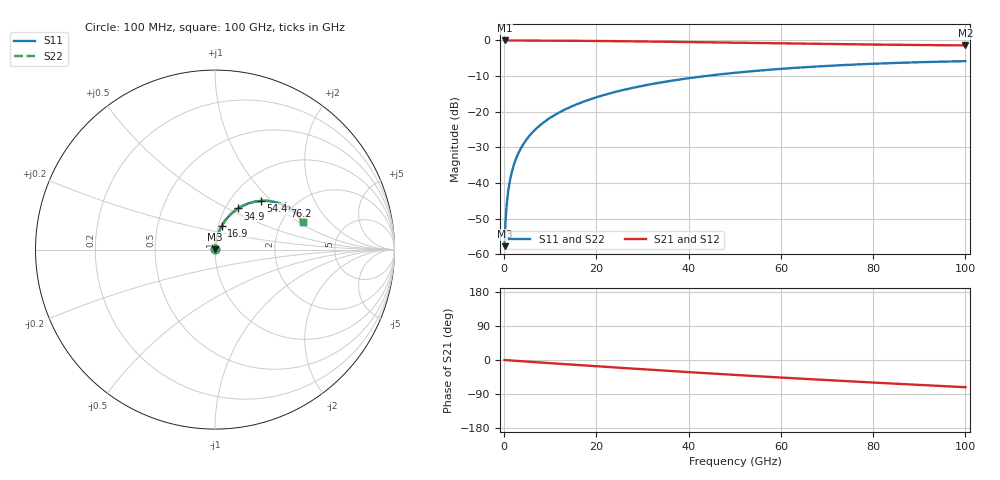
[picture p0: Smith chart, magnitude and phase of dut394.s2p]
! Touchstone file exported from HFSS 2026.1.0
!  File:  C:/ffzhzh/LocalFiles/Ansys_Project_Files/temp_train_RDL_394_1783503957_41296.aedt
!  Generated:  05:47:09 PM Jul  8, 2026
!  Design:  RDL
!  Project:  temp_train_RDL_394_1783503957_41296
! Variables:
!  h_bsmrdl = 2um
!  h_ox = 20um
!  h_rdl = 5um
!  h_sub = 80um
!  h_tmrdl = 4.31um
!  h_tsv = 80um
!  h_via = 3um
!  l_bsmrdl = 300um
!  l_sub = 608.16um
!  l_tmrdl = 208.16um
!  m_sub = 200um
!  pitch = 49.56um
!  r_tsv = 6um
!  s_tmrdl = 10um
!  w_bsmrdl = 18um
!  w_sub = 500um
!  w_tmrdl = 23.61um
!  x_tsv_center1 = 219.965um
!  x_tsv_center2 = 537.965um
!  x_tsv_center3 = 769.735um
!  x_tsv_center4 = 1087.735um
!  x_tsv_center5 = 1319.505um
!  x_tsv_center6 = 1637.505um
# GHz S MA R 50.000000
! Terminal data exported
! Port[1] = TM_RDL1_1_T1
! Port[2] = TM_RDL1_1_T2
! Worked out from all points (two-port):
!   1000 points, 100 MHz to 100 GHz, reference 50 ohm
!   highest |S21| = -0.01 dB at 100 MHz (marker M1); lowest = -1.4 dB at 100 GHz (marker M2)
!   |S21| within 3 dB of the highest: start of sweep to end of sweep
!   lowest |S11| = -57.7 dB at 100 MHz (marker M3), VSWR 1.00, Z = 50.1 + j0.0934 ohm
!   |S11| at or under -10 dB: start of sweep to 43.57 GHz
!   |S22| runs from -57.7 to -5.8 dB; largest |S21 - S12| = 3.5e-15
!   S11 on the Smith chart (normalised r, x): 100 MHz: 1.00, +0.00; 16.9 GHz: 1.04, +0.28; 34.9 GHz: 1.15, +0.57; 54.4 GHz: 1.37, +0.87; 76.2 GHz: 1.82, +1.13; 100 GHz: 2.58, +1.08
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0.1  0.001303 45.7  0.9991 -0.1  0.9991 -0.1  0.001303 45.7
! Gamma 0 0 0 0
! Port Impedance 50 0 50 0
0.4  0.003688 73.0  0.9989 -0.3  0.9989 -0.3  0.003688 73.0
0.8  0.007003 80.0  0.9988 -0.7  0.9988 -0.7  0.007003 80.0
1.1  0.009523 82.0  0.9988 -0.9  0.9988 -0.9  0.009523 81.9
1.4  0.01205 83.0  0.9987 -1.2  0.9987 -1.2  0.01205 83.0
1.9  0.01627 83.8  0.9986 -1.6  0.9986 -1.6  0.01627 83.8
2.4  0.02048 84.0  0.9984 -2.0  0.9984 -2.0  0.02048 84.0
3.9  0.033 83.6  0.9977 -3.3  0.9977 -3.3  0.033 83.6
6  0.05021 82.3  0.9964 -5.1  0.9964 -5.1  0.05021 82.3
8.8  0.07275 80.3  0.9944 -7.4  0.9944 -7.4  0.07275 80.3
12.4  0.1012 77.7  0.9913 -10.3  0.9913 -10.3  0.1012 77.6
16.8  0.1352 74.3  0.9866 -13.9  0.9866 -13.9  0.1352 74.3
16.9  0.136 74.3  0.9865 -14.0  0.9865 -14.0  0.136 74.3
24.3  0.1909 68.6  0.9767 -19.9  0.9767 -19.9  0.1909 68.6
33.4  0.2536 61.7  0.9616 -27.0  0.9616 -27.0  0.2536 61.7
34.9  0.2633 60.6  0.9589 -28.1  0.9589 -28.1  0.2633 60.6
50.1  0.352 49.6  0.9295 -39.4  0.9295 -39.4  0.352 49.6
54.4  0.3736 46.6  0.921 -42.4  0.921 -42.4  0.3736 46.6
66.7  0.4268 38.3  0.8975 -50.8  0.8975 -50.8  0.4268 38.3
76.2  0.4595 32.2  0.8812 -57.1  0.8812 -57.1  0.4596 32.1
83.4  0.4797 27.7  0.8704 -61.6  0.8704 -61.6  0.4797 27.6
100  0.5117 17.6  0.8518 -71.8  0.8518 -71.8  0.5117 17.5
